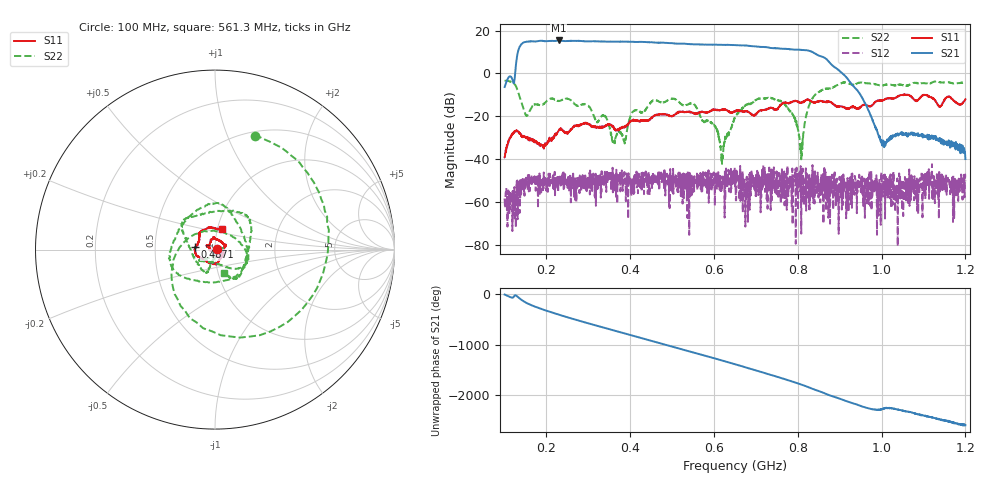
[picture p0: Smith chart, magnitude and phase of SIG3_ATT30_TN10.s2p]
# Hz S DB R 50
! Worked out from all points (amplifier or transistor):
!   1601 points, 100 MHz to 1.2 GHz, reference 50 ohm
!   highest |S21| = 15.4 dB at 229.2 MHz (marker M1)
!   |S21| within 3 dB of that: 135.8 MHz to 708.9 MHz (573.1 MHz wide, 136 % of centre) (the widest 1 of 3)
!   unconditionally stable (mu >= 1): start of sweep to end of sweep
!   at 282.9 MHz: K = 46.79, MAG = 15.3 dB, |S12| = -54.9 dB
!   at 650 MHz: K = 49.08, MAG = 13.3 dB, |S12| = -53.3 dB
!   at 1.2 GHz: K = 9071.84, MAG = -37.4 dB, |S12| = -50.3 dB
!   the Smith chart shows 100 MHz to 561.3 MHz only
!   S11 on the Smith chart (normalised r, x): 100 MHz: 1.02, +0.01; 487.1 MHz: 0.80, +0.02; 561.3 MHz: 1.05, +0.24
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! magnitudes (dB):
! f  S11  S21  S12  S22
! 100 MHz  -39.1  -6.3  -58.3  -3.4
! 121.3 MHz  -27.4  -4.6  -64.1  -4.5
! 142.6 MHz  -29.8  14.1  -50.9  -14.9
! 193.5 MHz  -35.1  15.1  -46.2  -14.3
! 229.2 MHz  -26.7  15.4  -51.7  -12.8
! 283.6 MHz  -24.1  15.1  -49.6  -14.5
! 339.9 MHz  -24.7  14.9  -50.5  -19.8
! 360.6 MHz  -25.0  14.8  -48.9  -32.8
! 467.1 MHz  -19.3  14.4  -46.2  -12.9
! 487.1 MHz  -19.1  14.2  -48.3  -13.0
! 561.3 MHz  -18.5  13.6  -53.0  -17.3
! 603.2 MHz  -16.8  13.4  -47.7  -24.6
! 619.1 MHz  -16.7  13.3  -48.1  -42.2
! 650 MHz  -17.8  13.2  -53.3  -20.4
! 757.9 MHz  -15.0  11.6  -51.9  -12.9
! 790.9 MHz  -12.9  11.1  -50.4  -20.0
! 807.4 MHz  -13.8  11.0  -53.6  -38.5
! 833.6 MHz  -13.2  10.1  -47.4  -11.9
! 915.4 MHz  -16.5  -1.6  -67.6  -4.3
! 1.001 GHz  -12.8  -33.1  -52.0  -5.6
! 1.017 GHz  -11.6  -30.7  -49.8  -5.1
! 1.2 GHz  -12.1  -39.9  -50.3  -4.0
